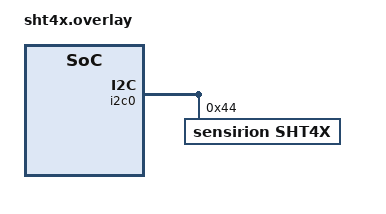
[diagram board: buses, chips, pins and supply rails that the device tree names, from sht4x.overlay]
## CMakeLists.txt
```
# SPDX-License-Identifier: Apache-2.0

cmake_minimum_required(VERSION 3.28.0)
find_package(Zephyr REQUIRED HINTS $ENV{ZEPHYR_BASE})
project(sensor_fetch_get)

target_sources(app PRIVATE src/main.c)
```

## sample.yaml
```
sample:
  name: sensor-fetch-get
  description: BME280 をセンサ API の Fetch/Get で読む
common:
  platform_allow:
    - esp32s3_devkitc/esp32s3/procpu
  integration_platforms:
    - esp32s3_devkitc/esp32s3/procpu
  build_only: true
  tags: advent2026
tests:
  advent.sensor_fetch_get: {}
  # BME280 を forced モードで動かすビルド
  advent.sensor_fetch_get.forced:
    extra_configs:
      - CONFIG_BME280_MODE_FORCED=y
  # 温度センサを SHT4x に替えるビルド
  advent.sensor_fetch_get.sht4x:
    extra_args:
      - EXTRA_DTC_OVERLAY_FILE=sht4x.overlay
```

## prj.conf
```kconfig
CONFIG_SENSOR=y

# printk で %f を使う (sensor_value_to_double の結果を表示するため)
CONFIG_CBPRINTF_FP_SUPPORT=y
```

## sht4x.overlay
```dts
/*
 * 温度センサを SHT4x (Sensirion) に替える場合の例
 * (ビルドの確認用。この記事の配線には SHT4x はつないでいない)
 *
 * SPDX-License-Identifier: Apache-2.0
 */

/ {
	aliases {
		ambient-temp0 = &sht4x;
	};
};

&i2c0 {
	sht4x: sht4x@44 {
		compatible = "sensirion,sht4x";
		reg = <0x44>;
		repeatability = <2>;
	};
};

&bme280 {
	status = "disabled";
};
```

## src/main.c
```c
/*
 * Sensor API (Fetch/Get) でセンサを読むサンプル
 *
 * SPDX-License-Identifier: Apache-2.0
 */

#include <zephyr/kernel.h>
#include <zephyr/device.h>
#include <zephyr/devicetree.h>
#include <zephyr/drivers/sensor.h>

/* Device Tree の別名 ambient-temp0 が指すセンサ (型番は overlay で決まる) */
static const struct device *const dev = DEVICE_DT_GET(DT_ALIAS(ambient_temp0));

static void print_channel(const char *name, enum sensor_channel chan, const char *unit)
{
	struct sensor_value val;
	int rc = sensor_channel_get(dev, chan, &val);

	if (rc < 0) {
		printk("  %-8s: not available (%d)\n", name, rc);
		return;
	}

	/* val1 は整数部、val2 は小数部 (100 万分の 1 単位) */
	printk("  %-8s: val1=%d val2=%d -> %.2f %s\n", name, val.val1, val.val2,
	       sensor_value_to_double(&val), unit);
}

int main(void)
{
	if (!device_is_ready(dev)) {
		printk("sensor %s is not ready\n", dev->name);
		return 0;
	}
	printk("sensor: %s\n", dev->name);

	while (1) {
		uint32_t start = k_cycle_get_32();
		int rc = sensor_sample_fetch(dev);
		uint32_t us = k_cyc_to_us_floor32(k_cycle_get_32() - start);

		if (rc < 0) {
			printk("sensor_sample_fetch failed: %d\n", rc);
		} else {
			printk("fetch: %u us\n", us);
			print_channel("temp", SENSOR_CHAN_AMBIENT_TEMP, "C");
			print_channel("press", SENSOR_CHAN_PRESS, "kPa");
			print_channel("humidity", SENSOR_CHAN_HUMIDITY, "%RH");
		}
		k_msleep(2000);
	}
	return 0;
}
```
